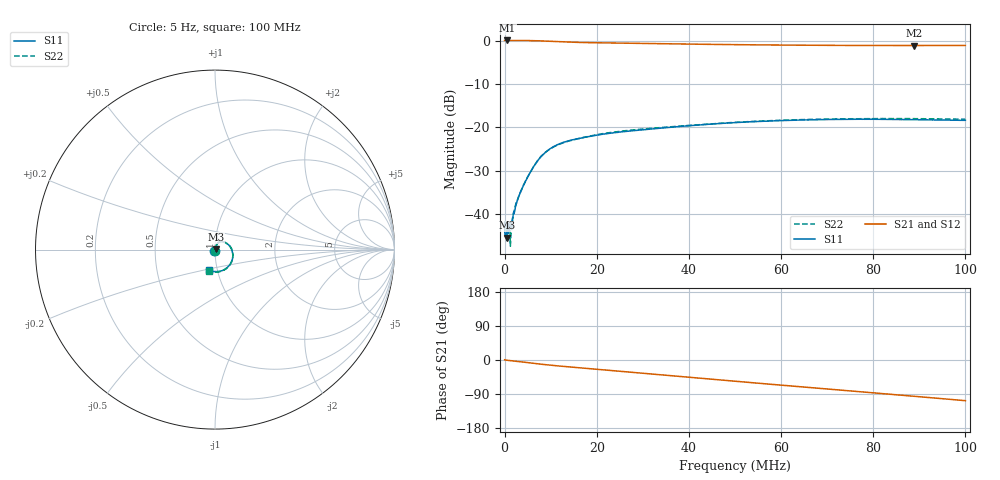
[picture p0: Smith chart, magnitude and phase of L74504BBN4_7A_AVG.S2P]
!Agilent Technologies,E5061B,MY49102235,A.02.00
!Date: Tue Jul 11 16:36:44 2023
!Data & Calibration Information:
!Freq	S11:SOLT2(ON)	S21:SOLT2(ON)	S12:SOLT2(ON)	S22:SOLT2(ON)
# Hz S RI R 50
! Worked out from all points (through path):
!   1600 points, 5 Hz to 100 MHz, reference 50 ohm
!   highest |S21| = 0.02 dB at 625.4 kHz (marker M1); lowest = -1.1 dB at 88.87 MHz (marker M2)
!   group delay of S21, straight-line fit = 2.91 ns
!   lowest |S11| = -45.5 dB at 500.3 kHz (marker M3), VSWR 1.01, Z = 50.5 + j0.258 ohm
!   |S11| at or under -10 dB: start of sweep to end of sweep
!   |S22| runs from -47.4 to -18.0 dB; largest |S21 - S12| = 0.0025
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5  -0.00511 -0.00564  1.002 0.00806  1 0.0102  -0.00148 -0.00754
500317.7  0.00466 0.00256  1.001 -0.0108  1.002 -0.0107  0.00489 0.000965
625395.8  0.00521 0.00314  1.002 -0.0142  1.002 -0.0138  0.00623 0.00275
1000630  0.00405 0.00524  1 -0.0224  1.001 -0.0222  0.00542 0.00432
1313326  0.0049 0.00568  1.001 -0.0293  1.001 -0.0296  0.00311 0.00412
1688560  0.00445 0.00743  1 -0.0394  1.001 -0.0394  0.00418 0.00659
2063795  0.00396 0.00997  1.001 -0.0485  1 -0.0487  0.00441 0.00977
2376490  0.00439 0.0113  0.9987 -0.0556  0.9991 -0.0559  0.00505 0.0116
3502194  0.00643 0.0168  0.9967 -0.0826  0.9965 -0.0824  0.00552 0.0175
5128210  0.00911 0.0258  0.9918 -0.1221  0.9915 -0.122  0.00862 0.026
7442156  0.0189 0.0385  0.9763 -0.1787  0.9762 -0.1785  0.0187 0.039
9068172  0.0296 0.0433  0.9604 -0.2143  0.9602 -0.214  0.0292 0.0436
1.100688e7  0.0427 0.0441  0.9401 -0.2511  0.9398 -0.2508  0.0419 0.0441
1.313321e7  0.0543 0.0409  0.9188 -0.2867  0.9185 -0.2864  0.0535 0.0409
1.669794e7  0.0678 0.0329  0.886 -0.3423  0.8858 -0.3421  0.0677 0.0329
2.332708e7  0.0843 0.0167  0.825 -0.441  0.8247 -0.4409  0.0861 0.0156
3.333334e7  0.0965 -0.0116  0.717 -0.5746  0.7169 -0.5743  0.0979 -0.0127
5.003127e7  0.0942 -0.0628  0.5 -0.7448  0.4999 -0.7447  0.0945 -0.0639
6.672921e7  0.0605 -0.1059  0.2554 -0.8444  0.2556 -0.8443  0.0617 -0.1068
8.33646e7  0.0133 -0.1226  -0.00106 -0.8768  -0.00108 -0.8768  0.0139 -0.1251
8.886804e7  -0.00232 -0.1225  -0.0877 -0.872  -0.0876 -0.8722  -0.00207 -0.1255
1e8  -0.0313 -0.1162  -0.2615 -0.8378  -0.2614 -0.8378  -0.0315 -0.1196
